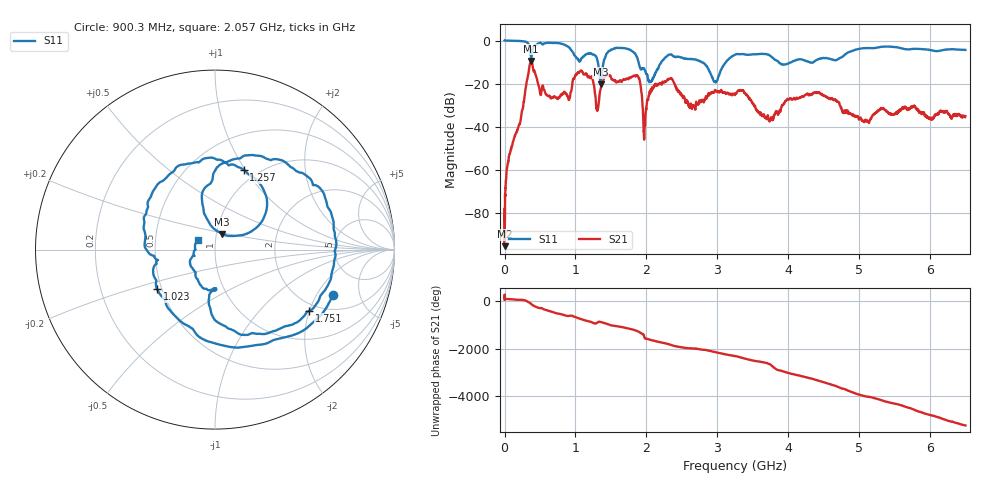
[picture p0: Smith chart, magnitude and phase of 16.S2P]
!Keysight Technologies,E5063A,MY54503115,A.05.08
!Date: Mon Dec 11 13:51:36 2023
!Data & Calibration Information:
!Freq	S11:NONE(--)	S21:NONE(--)	S12:NONE(--)	S22:NONE(--)
# Hz S dB R 50
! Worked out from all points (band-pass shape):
!   10001 points, 100 kHz to 6.5 GHz, reference 50 ohm
!   highest |S21| = -9.50 dB at 375.1 MHz (marker M1); lowest = -95.4 dB at 2.05 MHz (marker M2)
!   |S21| within 3 dB of the highest: 348.5 MHz to 398.2 MHz (49.75 MHz wide, 13.3 % of centre)
!   lowest |S11| = -20.4 dB at 1.354 GHz (marker M3), VSWR 1.21, Z = 53.3 + j9.38 ohm
!   |S11| at or under -10 dB: 1.889 GHz to 2.21 GHz (320.6 MHz wide, 15.6 % of centre); 2.785 GHz to 3.121 GHz (335.6 MHz wide, 11.4 % of centre); 3.867 GHz to 4.048 GHz (180.8 MHz wide, 4.57 % of centre) (the widest 3 of 6)
!   S12 and S22 are empty: the file has one direction only
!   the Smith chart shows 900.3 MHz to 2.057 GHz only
!   S11 on the Smith chart (normalised r, x): 900.3 MHz: 2.77, -2.82; 1.023 GHz: 0.47, -0.25; 1.257 GHz: 0.86, +0.98; 1.751 GHz: 1.77, -1.99; 2.057 GHz: 0.82, +0.09
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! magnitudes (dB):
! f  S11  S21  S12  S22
! 100 kHz  0.0  -81.2  -  -
! 2.05 MHz  0.0  -95.4  -  -
! 59.25 MHz  0.0  -54.0  -  -
! 375.1 MHz  -8.1  -9.5  -  -
! 499.3 MHz  -1.1  -24.0  -  -
! 900.3 MHz  -3.0  -27.1  -  -
! 1.023 GHz  -8.2  -15.4  -  -
! 1.084 GHz  -8.1  -13.9  -  -
! 1.257 GHz  -6.5  -20.4  -  -
! 1.354 GHz  -20.4  -22.5  -  -
! 1.751 GHz  -4.1  -17.5  -  -
! 1.887 GHz  -9.8  -17.0  -  -
! 1.974 GHz  -13.4  -40.3  -  -
! 2.057 GHz  -19.2  -23.9  -  -
! 2.167 GHz  -12.9  -20.6  -  -
! 2.664 GHz  -8.7  -30.0  -  -
! 2.974 GHz  -19.3  -23.2  -  -
! 3.25 GHz  -6.5  -24.9  -  -
! 3.756 GHz  -7.2  -35.9  -  -
! 4.334 GHz  -10.3  -24.9  -  -
! 5.417 GHz  -2.8  -33.7  -  -
! 6.5 GHz  -4.3  -35.0  -  -
